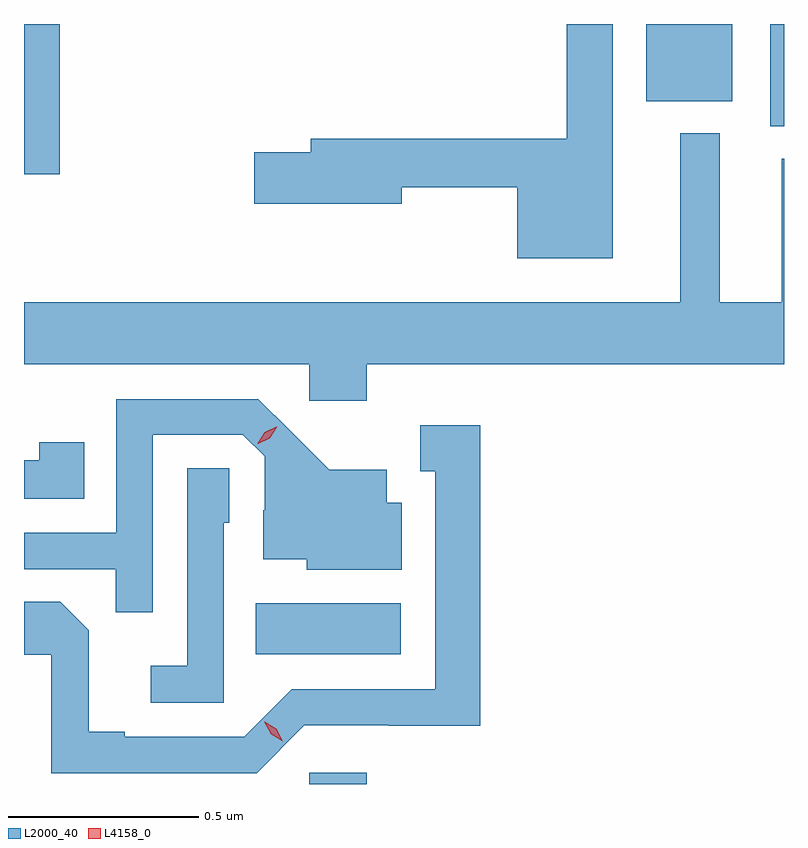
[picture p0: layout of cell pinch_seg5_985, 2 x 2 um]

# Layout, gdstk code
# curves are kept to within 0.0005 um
import gdstk
lib = gdstk.Library(unit=1e-6, precision=1e-09)
def R(c, l, rs):  # rectangles x0, y0, x1, y1
    for r in rs: c.add(gdstk.rectangle(r[:2], r[2:], *l))
def P(c, l, *ps):  # polygons
    for p in ps: c.add(gdstk.Polygon(p, *l))
L2000_40 = (2000, 40)
L4158_0 = (4158, 0)

pinch_seg5_985 = lib.new_cell('pinch_seg5_985')
R(pinch_seg5_985, L2000_40, [(736.686,912.932,736.838,912.961), (736.546,913.274,736.927,913.408), (735.936,914.537,736.03,914.932), (737.9,914.663,737.936,914.932), (737.573,914.729,737.8,914.932)])
P(pinch_seg5_985, L2000_40, [(737.485,914.932),(737.364,914.932),(737.364,914.63),(736.691,914.63),(736.691,914.594),(736.542,914.594),(736.542,914.459),(736.93,914.459),(736.93,914.502),(737.234,914.502),(737.234,914.315),(737.485,914.315)],
  [(735.936,914.036),(736.686,914.036),(736.686,913.941),(736.838,913.941),(736.838,914.036),(737.936,914.036),(737.936,914.578),(737.93,914.578),(737.93,914.2),(737.767,914.2),(737.767,914.644),(737.663,914.644),(737.663,914.2),(735.936,914.2)],
  [(736.275,913.851),(736.512,913.851),(736.569,913.794),(736.569,913.652),(736.565,913.652),(736.565,913.523),(736.68,913.523),(736.68,913.496),(736.93,913.496),(736.93,913.672),(736.891,913.672),(736.891,913.759),(736.739,913.759),(736.552,913.944),(736.179,913.944),(736.179,913.593),(735.936,913.593),(735.936,913.497),(736.177,913.497),(736.177,913.384),(736.275,913.384)],
  [(736.674,913.086),(736.896,913.086),(736.896,913.085),(737.137,913.085),(737.137,913.876),(736.979,913.876),(736.979,913.755),(737.018,913.755),(737.018,913.182),(736.641,913.182),(736.515,913.056),(736.201,913.056),(736.201,913.069),(736.107,913.069),(736.107,913.336),(736.031,913.412),(735.936,913.412),(735.936,913.272),(736.008,913.272),(736.008,912.96),(736.548,912.96)],
  [(736.094,913.831),(735.976,913.831),(735.976,913.784),(735.936,913.784),(735.936,913.683),(736.094,913.683)],
  [(736.461,913.62),(736.476,913.62),(736.476,913.763),(736.365,913.763),(736.365,913.243),(736.269,913.243),(736.269,913.146),(736.461,913.146)])
P(pinch_seg5_985, L4158_0, [(736.617,913.044),(736.586,913.063),(736.568,913.096),(736.568,913.096),(736.569,913.096),(736.6,913.077),(736.617,913.044),(736.617,913.044)],
  [(736.551,913.828),(736.551,913.829),(736.57,913.858),(736.6,913.872),(736.601,913.872),(736.601,913.871),(736.583,913.842),(736.552,913.828)])

lib.write_gds('pinch_seg5_985.gds')
